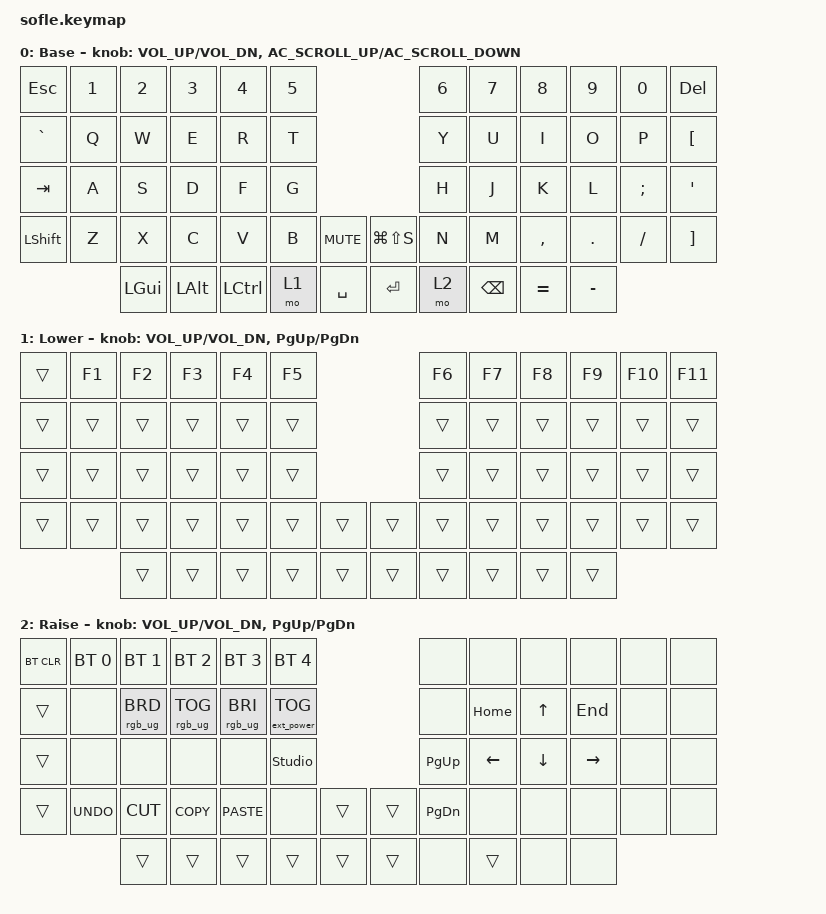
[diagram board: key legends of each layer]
/*
 * Sofle (nice!nano nRF52840) keymap
 * - 2 rotary encoders, RGB underglow, SSD1306 OLEDs on both halves
 * - editable live via ZMK Studio
 */

#include <dt-bindings/zmk/power_save.h>
#include <behaviors.dtsi>
#include <dt-bindings/zmk/bt.h>
#include <dt-bindings/zmk/ext_power.h>
#include <dt-bindings/zmk/keys.h>
#include <dt-bindings/zmk/rgb.h>

/ {
    keymap {
        compatible = "zmk,keymap";

        base {
            display-name = "Base";

            // ------------------------------------------------------------------------------------------------------------
            // |  `    |  1  |  2  |  3   |  4   |  5   |                         |  6   |  7    |  8    |  9   |   0   |       |
            // |  ESC  |  Q  |  W  |  E   |  R   |  T   |                         |  Y   |  U    |  I    |  O   |   P   | BKSPC |
            // |  TAB  |  A  |  S  |  D   |  F   |  G   |                         |  H   |  J    |  K    |  L   |   ;   |   '   |
            // | SHIFT |  Z  |  X  |  C   |  V   |  B   |  MUTE  |        | ExtPw |  N   |  M    |  ,    |  .   |   /   | SHIFT |
            //               | GUI | ALT  | CTRL | LOWER|  ENTER |        | SPACE | RAISE| CTRL  | ALT   | GUI  |

            bindings = <
&kp ESCAPE  &kp N1  &kp N2    &kp N3    &kp N4     &kp N5                               &kp N6  &kp N7         &kp N8     &kp N9     &kp N0    &kp DELETE
&kp GRAVE   &kp Q   &kp W     &kp E     &kp R      &kp T                                &kp Y   &kp U          &kp I      &kp O      &kp P     &kp LEFT_BRACKET
&kp TAB     &kp A   &kp S     &kp D     &kp F      &kp G                                &kp H   &kp J          &kp K      &kp L      &kp SEMI  &kp SQT
&kp LSHFT   &kp Z   &kp X     &kp C     &kp V      &kp B   &kp C_MUTE    &kp LG(LS(S))  &kp N   &kp M          &kp COMMA  &kp DOT    &kp FSLH  &kp RIGHT_BRACKET
                    &kp LGUI  &kp LALT  &kp LCTRL  &mo 1   &kp SPACE     &kp RET        &mo 2   &kp BACKSPACE  &kp EQUAL  &kp MINUS
            >;

            sensor-bindings =
                <&inc_dec_kp C_VOL_UP C_VOL_DN>,
                <&inc_dec_kp C_AC_SCROLL_UP C_AC_SCROLL_DOWN>;
        };

        Fn {
            display-name = "Lower";

            // ------------------------------------------------------------------------------------------------------------
            // |       |  F1 |  F2 |  F3  |  F4  |  F5  |                   |  F6  |  F7   |  F8   |  F9  |  F10  |  F11  |
            // | `     |   1 |   2 |   3  |   4  |   5  |                   |   6  |   7   |   8   |   9  |    0  |  F12  |
            // |       |  !  |  @  |  #   |  $   |  %   |                   |  ^   |  &    |  *    |  (   |   )   |   |   |
            // |       |  =  |  -  |  +   |  {   |  }   |        |  |       |  [   |  ]    |  ;    |  :   |   \   |       |

            bindings = <
&trans  &kp F1  &kp F2  &kp F3  &kp F4  &kp F5                    &kp F6  &kp F7  &kp F8  &kp F9  &kp F10  &kp F11
&trans  &trans  &trans  &trans  &trans  &trans                    &trans  &trans  &trans  &trans  &trans   &trans
&trans  &trans  &trans  &trans  &trans  &trans                    &trans  &trans  &trans  &trans  &trans   &trans
&trans  &trans  &trans  &trans  &trans  &trans  &trans    &trans  &trans  &trans  &trans  &trans  &trans   &trans
                &trans  &trans  &trans  &trans  &trans    &trans  &trans  &trans  &trans  &trans
            >;

            sensor-bindings = <&inc_dec_kp C_VOL_UP C_VOL_DN &inc_dec_kp PG_UP PG_DN>;
        };

        raise_layer {
            display-name = "Raise";

            // ------------------------------------------------------------------------------------------------------------
            // |BTCLR| BT1  | BT2  |  BT3  |  BT4  |  BT5 |                |RGB EF|RGB TG |RGB MD |RGB+  |RGB-   |PSLEEP |
            // |     | INS  | PSCR | GUI   |       |      |                |      |       |   ^   |      |       |       |
            // |     | ALT  | CTRL | SHIFT |       | CAPS |                |      |   <-  |   v   |  ->  |  DEL  | BKSPC |
            // |     | UNDO | CUT  | COPY  | PASTE |      |      |  |      |      |       |       |      |       |       |

            bindings = <
&bt BT_CLR  &bt BT_SEL 0  &bt BT_SEL 1     &bt BT_SEL 2     &bt BT_SEL 3     &bt BT_SEL 4                         &none          &none     &none     &none      &none  &none
&trans      &none         &rgb_ug RGB_BRD  &rgb_ug RGB_TOG  &rgb_ug RGB_BRI  &ext_power EP_TOG                    &none          &kp HOME  &kp UP    &kp END    &none  &none
&trans      &none         &none            &none            &none            &studio_unlock                       &kp PG_UP      &kp LEFT  &kp DOWN  &kp RIGHT  &none  &none
&trans      &kp K_UNDO    &kp K_CUT        &kp K_COPY       &kp K_PASTE      &none              &trans    &trans  &kp PAGE_DOWN  &none     &none     &none      &none  &none
                          &trans           &trans           &trans           &trans             &trans    &trans  &none          &trans    &none     &none
            >;

            sensor-bindings = <&inc_dec_kp C_VOL_UP C_VOL_DN &inc_dec_kp PG_UP PG_DN>;
        };
    };
};
